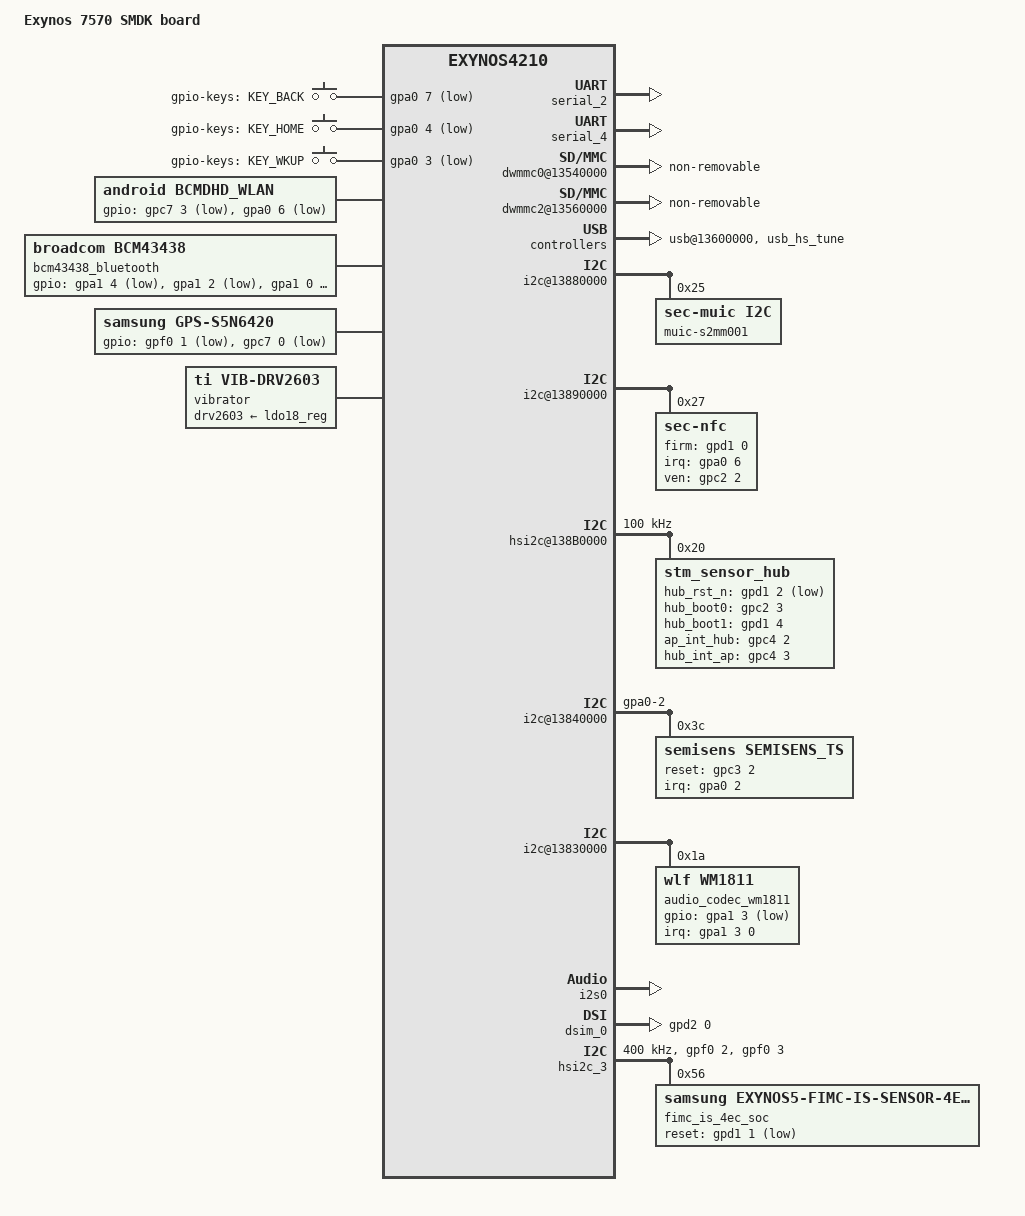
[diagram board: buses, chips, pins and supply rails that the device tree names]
/*
 * SAMSUNG SMDK7270 board device tree source
 *
 * Copyright (c) 2013 Samsung Electronics Co., Ltd.
 *		http://www.samsung.com
 *
 * This program is free software; you can redistribute it and/or modify
 * it under the terms of the GNU General Public License version 2 as
 * published by the Free Software Foundation.
*/

/dts-v1/;
#include "exynos7270.dtsi"
#include "exynos7270-rmem.dtsi"

/ {
	model = "Exynos 7570 SMDK board";
	compatible = "samsung,exynos7570", "samsung,exynos4210";

	memory@40000000 {
		device_type = "memory";
		reg = <0x0 0x40000000 0x30000000>;
	};

	chosen {
		bootargs = "console=ttySAC2,115200 clk_ignore_unused androidboot.hardware=samsungexynos7570 androidboot.selinux=disabled firmware_class.path=/vendor/firmware ess_setup=0x46000000 volt_offset_percent=10";
		linux,initrd-start = <0x42000000>;
		linux,initrd-end = <0x421FFFFF>;
	};

	fixed-rate-clocks {
		oscclk {
			compatible = "samsung,exynos7570-oscclk";
			clock-frequency = <26000000>;
		};
	};

	serial_2: uart@13820000 {
		status = "okay";
	};

        usi_1: usi@101D3000 {
                status = "okay";
        };

        serial_4: uart@13930000 {
                status = "okay";
        };

	dwmmc0@13540000 {
		status = "okay";
		num-slots = <1>;
		broken-cd;
		bypass-smu;
		fixed_voltage;
		supports-highspeed;
		clock-gate;
		mmc-ddr-1_8v;
		supports-8bit;
		supports-cmd23;
		supports-erase;
		ignore-phase = <(1 << 7)>;
		use-fine-tuning;
		only_once_tune;
		bypass-for-allpass;
		card-init-hwacg-ctrl;
		fifo-depth = <0x40>;
		non-removable;
		card-detect-delay = <200>;
		clock-frequency = <700000000>;
		samsung,dw-mshc-ciu-div = <3>;
		samsung,dw-mshc-txdt-crc-timer-fastlimit = <0x34>;
		samsung,dw-mshc-txdt-crc-timer-initval = <0x38>;
		samsung,dw-mshc-ddr200-delay-line = <0x60>;
		samsung,dw-mshc-sdr-timing = <3 0 4 0>;
		samsung,dw-mshc-ddr-timing = <3 0 4 2>;
		samsung,dw-mshc-hs200-timing = <3 0 3 0>;
		samsung,dw-mshc-ddr200-timing = <1 0 4 0>;
		samsung,dw-mshc-ddr200-ulp-timing = <3 0 3 0>;

		num-ref-clks = <10>;
		ciu_clkin = <25 43 43 87 175 43 43 175 175 175>;

		/* Swapping clock drive strength */
		clk-drive-number = <4>;
		pinctrl-names = "default",
			"fast-slew-rate-1x",
			"fast-slew-rate-2x",
			"fast-slew-rate-3x",
			"fast-slew-rate-4x";
		pinctrl-0 = <&sd0_clk &sd0_cmd &sd0_rdqs &sd0_bus1 &sd0_bus4 &sd0_bus8>;
		pinctrl-1 = <&sd0_clk_fast_slew_rate_1x>;
		pinctrl-2 = <&sd0_clk_fast_slew_rate_2x>;
		pinctrl-3 = <&sd0_clk_fast_slew_rate_3x>;
		pinctrl-4 = <&sd0_clk_fast_slew_rate_4x>;
		slot@0 {
			reg = <0>;
			bus-width = <8>;
		};
	};

	dwmmc2@13560000 {
		status = "okay";
		num-slots = <1>;
		clock-gate;
//		fixed_volt;
		supports-highspeed;
		only_once_tune;
		enable-cclk-on-suspend;
		keep-power-in-suspend;
//		enable-sdio-wakeup;
                non-removable;
                broken-cd;
		supports-poweroff-notification;
		cd-type = <2>;
//		cd-gpio = <&gpc0 1 0xf>;
		qos_int_level = <133>;
		fifo-depth = <0x40>;
		card-detect-delay = <200>;
		samsung,dw-mshc-ciu-div = <3>;
		samsung,dw-mshc-sdr-timing = <3 0 2 1>;
		samsung,dw-mshc-ddr-timing = <3 0 3 2>;

		num-ref-clks = <11>;
		ciu_clkin = <25 50 50 50 50 100 200 100 100 200 400>;
//		clk-drive-number = <4>;
		pinctrl-names = "default";
//			"fast-slew-rate-1x",
//			"fast-slew-rate-2x",
//			"fast-slew-rate-3x",
//			"fast-slew-rate-4x";
		pinctrl-0 = <&sd2_clk &sd2_cmd &sd2_bus1 &sd2_bus4>;
//		pinctrl-1 = <&sd2_clk_fast_slew_rate_1x>;
//		pinctrl-2 = <&sd2_clk_fast_slew_rate_2x>;
//		pinctrl-3 = <&sd2_clk_fast_slew_rate_3x>;
//		pinctrl-4 = <&sd2_clk_fast_slew_rate_4x>;

		slot@0 {
			reg = <0>;
			bus-width = <4>;
//			disable-wp;
		};
	};

	ion {
		compatible = "samsung,exynos5430-ion";
	};

	usb@13600000 {
		status = "okay";

		dwc3 {
			dr_mode = "otg";
		};
	};

	usbphy@135c0000 {
		status = "okay";
		hs_tune_info = <&usb_hs_tune>;
		ss_tune_info = <&usb_ss_tune>;
	};

	usb_hs_tune:hs_tune {
		status = "okay";
		/* value = <device host> */
		tx_vref = <0x3 0x3>;
		tx_pre_emp = <0x0 0x0>;
		tx_pre_emp_puls = <0x0 0x0>;
		tx_res	= <0x2 0x2>;
		tx_rise = <0x1 0x1>;
		tx_hsxv = <0x0 0x0>;
		tx_fsls = <0x3 0x3>;
		rx_sqrx = <0x5 0x5>;
		compdis	= <0x3 0x3>;
		otg= <0x2 0x2>;
		/* true : 1, false: 0 */
		/* <enable_user_imp user_imp_value> */
		enable_user_imp = <0 0>;
		/* PHY clk : 1 , FREE clk : 0 */
		is_phyclock = <1>;
	};

	usb_ss_tune:ss_tune {
		status = "disabled";
		/* value = <device host> */
		tx_boost_level = <0x4 0x4>;
		tx_swing_level = <0x1 0x1>;
		tx_swing_full = <0x7F 0x7F>;
		tx_swing_low = <0x7F 0x7F>;
		tx_deemphasis_mode = <0x1 0x1>;
		tx_deemphasis_3p5db = <0x18 0x18>;
		tx_deemphasis_6db = <0x18 0x18>;
		enable_ssc = <0x1 0x1>;
		ssc_range = <0x0 0x1>;
		los_bias = <0x5 0x5>;
		los_mask_val = <0x104 0x104>;
		enable_fixed_rxeq_mode = <0x0 0x0>;
		fix_rxeq_value = <0x4 0x4>;
		set_crport_mpll_charge_pump = <0x0 0x0>;
		set_crport_level_en = <0x0 0x0>;
	};

	usb_notifier {
		compatible = "samsung,usb-notifier";
		udc = <&udc>;
	};

	tmuctrl_0: tmuctrl_CPUCL0@10130000 {
		compatible = "samsung,exynos7570-tmu";
		reg = <0x0 0x10130000 0x200>;
		interrupts = <0 435 0>;
		default_ptat_cont = <0x1>;
	};

	tmuctrl_1: tmuctrl_G3D@10130000 {
		compatible = "samsung,exynos7570-tmu";
		reg = <0x0 0x10130000 0x200>;
		interrupts = <0 435 0>;
		default_ptat_cont = <0x1>;

		/* gpu cooling related table */
		gpu_idx_num = <5>;
		/* flags, driver_data(index), frequency */
		gpu_cooling_table = < 0 0 830000
				      0 1 700000
				      0 2 553000
				      0 3 415000
				      0 4 TABLE_END>;
	};

	pinctrl@139F0000 {
		if_irq: if-irq {
			samsung,pins = "gpa0-5";
			samsung,pin-pud = <3>;
			samsung,pin-drv = <3>;
		};
	};

	i2c@13880000 {
		status = "okay";
		muic-s2mm001@25 {
			compatible = "sec-muic,i2c";
			reg = <0x25>;
			pinctrl-names = "default";
			muic,muic_int = <&gpa1 1 0>;
		};
	};

	i2c@13890000 {
                samsung,i2c-sda-delay = <100>;
                samsung,i2c-max-bus-freq = <400000>;
                status = "okay";

                sec-nfc@27 {
                        compatible = "sec-nfc";
                        pinctrl-names = "default";
                        pinctrl-0 = <&nfc_pd &gpio_nfc_ese_pwr_en &gpio_nfc_pwr_en &nfc_int>;
                        reg = <0x27>;
                        sec-nfc,firm-gpio = <&gpd1 0 0>;
                        sec-nfc,irq-gpio = <&gpa0 6 0>;
                        sec-nfc,ven-gpio = <&gpc2 2 0>;
                };
	};

	speedy@10510000 {
		status = "okay";
		s2mpw01mfd@00 {
			compatible = "samsung,s2mpw01mfd";
			reg = <0x00>;
			pinctrl-names = "default";
			pinctrl-0 = <&if_irq>;
			s2mpw01,irq-gpio = <&gpa0 5 0>;
			s2mpw01,wakeup = "enabled";

			i2c-speedy-address;
			cache_data = <1>;

			/* RTC: wtsr/smpl */
			wtsr_en = "enabled"; /* enable */
			wtsr_timer_val = <3>;   /* 1000ms */
			check_jigon = <0>; /* do not check jigon */
			/* RTC: reset time to 1/1/2014 00:00:00(Wed) */
			init_time,sec = <0>;
			init_time,min = <0>;
			init_time,hour = <0>;
			init_time,mday = <1>;
			init_time,mon = <0>;    /* +1 */
			init_time,year = <116>; /* 1900 + 114 */
			init_time,wday = <5>;

			s2mpw01-keys {
				button@1 {
					label = "pmic-keys: KEY_POWER";
					linux,code = <116>;
					wakeup = <1>;
				};
			};

			regulators {
				buck1_reg: BUCK1 {
					regulator-name = "BUCK1";
					regulator-min-microvolt = <600000>;
					regulator-max-microvolt = <1300000>;
					regulator-always-on;
					regulator-boot-on;
					regulator-ramp-delay = <12000>;
					regulator-initial-mode = <1>;
					regulator-expected-consumer = <6>;
				};

				buck3_reg: BUCK3 {
					regulator-name = "BUCK3";
					regulator-min-microvolt = <800000>;
					regulator-max-microvolt = <1500000>;
					regulator-always-on;
					regulator-boot-on;
					regulator-ramp-delay = <12000>;
					regulator-initial-mode = <3>;
				};

				buck4_reg: BUCK4 {
					regulator-name = "BUCK4";
					regulator-min-microvolt = <1800000>;
					regulator-max-microvolt = <2100000>;
					regulator-always-on;
					regulator-boot-on;
					regulator-initial-mode = <3>;
					regulator-ramp-delay = <12000>;
				};

				ldo1_reg: LDO1 {
					regulator-name = "vdd_ldo1";
					regulator-min-microvolt = <500000>;
					regulator-max-microvolt = <1350000>;
					regulator-ramp-delay = <12000>;
					regulator-initial-mode = <3>;
					regulator-always-on;
					regulator-boot-on;
				};

				ldo2_reg: LDO2 {
					regulator-name = "vdd_ldo2";
					regulator-min-microvolt = <500000>;
					regulator-max-microvolt = <1350000>;
					regulator-always-on;
					regulator-boot-on;
					regulator-ramp-delay = <12000>;
					regulator-initial-mode = <1>;
				};

				ldo3_reg: LDO3 {
					regulator-name = "vdd_ldo3";
					regulator-min-microvolt = <1500000>;
					regulator-max-microvolt = <2000000>;
					regulator-always-on;
					regulator-boot-on;
					regulator-initial-mode = <3>;
					regulator-ramp-delay = <12000>;
				};

				ldo4_reg: LDO4 {
					regulator-name = "vdd_ldo4";
					regulator-min-microvolt = <800000>;
					regulator-max-microvolt = <1200000>;
					regulator-always-on;
					regulator-boot-on;
					regulator-initial-mode = <1>;
					regulator-ramp-delay = <12000>;
				};

				ldo5_reg: LDO5 {
					regulator-name = "vdd_ldo5";
					regulator-min-microvolt = <800000>;
					regulator-max-microvolt = <1200000>;
					regulator-always-on;
					regulator-boot-on;
					regulator-initial-mode = <1>;
					regulator-ramp-delay = <12000>;
				};

				ldo6_reg: LDO6 {
					regulator-name = "vdd_ldo6";
					regulator-min-microvolt = <1800000>;
					regulator-max-microvolt = <3375000>;
					regulator-initial-mode = <1>;
					regulator-ramp-delay = <12000>;
					regulator-always-on;
				};

				ldo7_reg: LDO7 {
					regulator-name = "vdd_ldo7";
					regulator-min-microvolt = <800000>;
					regulator-max-microvolt = <1200000>;
					regulator-always-on;
					regulator-boot-on;
					regulator-initial-mode = <3>;
					regulator-ramp-delay = <12000>;
				};

				ldo8_reg: LDO8 {
					regulator-name = "vdd_ldo8";
					regulator-min-microvolt = <1500000>;
					regulator-max-microvolt = <2000000>;
					regulator-initial-mode = <0>;
					regulator-ramp-delay = <12000>;
				};

				ldo9_reg: LDO9 {
					regulator-name = "vdd_ldo9";
					regulator-min-microvolt = <1800000>;
					regulator-max-microvolt = <3375000>;
					regulator-initial-mode = <0>;
					regulator-ramp-delay = <12000>;
				};

				ldo10_reg: LDO10 {
					regulator-name = "vdd_ldo10";
					regulator-min-microvolt = <1500000>;
					regulator-max-microvolt = <2000000>;
					regulator-always-on;
					regulator-boot-on;
					regulator-ramp-delay = <12000>;
				};

				ldo11_reg: LDO11 {
					regulator-name = "vdd_ldo11";
					regulator-min-microvolt = <1800000>;
					regulator-max-microvolt = <2850000>;
					regulator-always-on;
					regulator-boot-on;
					regulator-ramp-delay = <12000>;
				};

				ldo12_reg: LDO12 {
					regulator-name = "vdd_ldo12";
					regulator-min-microvolt = <1800000>;
					regulator-max-microvolt = <3375000>;
					regulator-always-on;
					regulator-boot-on;
					regulator-ramp-delay = <12000>;
				};

				ldo13_reg: LDO13 {
					regulator-name = "vdd_ldo13";
					regulator-min-microvolt = <1500000>;
					regulator-max-microvolt = <2000000>;
					regulator-always-on;
					regulator-boot-on;
					regulator-ramp-delay = <12000>;
				};

				ldo14_reg: LDO14 {
					regulator-name = "vdd_ldo14";
					regulator-min-microvolt = <1800000>;
					regulator-max-microvolt = <3375000>;
					regulator-ramp-delay = <12000>;
				};

				ldo15_reg: LDO15 {
					regulator-name = "vdd_ldo15";
					regulator-min-microvolt = <1500000>;
					regulator-max-microvolt = <2000000>;
					regulator-always-on;
					regulator-boot-on;
					regulator-initial-mode = <3>;
					regulator-ramp-delay = <12000>;
				};

				ldo16_reg: LDO16 {
					regulator-name = "vdd_ldo16";
					regulator-min-microvolt = <1800000>;
					regulator-max-microvolt = <3375000>;
					regulator-always-on;
					regulator-boot-on;
					regulator-initial-mode = <1>;
					regulator-ramp-delay = <12000>;
				};

				ldo17_reg: LDO17 {
					regulator-name = "vdd_ldo17";
					regulator-min-microvolt = <1500000>;
					regulator-max-microvolt = <2000000>;
					regulator-always-on;
					regulator-boot-on;
					regulator-initial-mode = <1>;
					regulator-ramp-delay = <12000>;
				};

				ldo18_reg: LDO18 {
					regulator-name = "vdd_ldo18";
					regulator-min-microvolt = <1800000>;
					regulator-max-microvolt = <3375000>;
					regulator-ramp-delay = <12000>;
				};

				ldo19_reg: LDO19 {
					regulator-name = "vdd_ldo19";
					regulator-min-microvolt = <1800000>;
					regulator-max-microvolt = <3375000>;
					regulator-always-on;
					regulator-boot-on;
					regulator-ramp-delay = <12000>;
				};

				ldo20_reg: LDO20 {
					regulator-name = "vdd_ldo20";
					regulator-min-microvolt = <1800000>;
					regulator-max-microvolt = <3375000>;
					regulator-always-on;
					regulator-boot-on;
					regulator-ramp-delay = <12000>;
				};

				ldo21_reg: LDO21 {
					regulator-name = "vdd_ldo21";
					regulator-min-microvolt = <1500000>;
					regulator-max-microvolt = <2000000>;
					regulator-ramp-delay = <12000>;
					regulator-always-on;
					regulator-boot-on;
					regulator-initial-mode = <1>;
				};

				ldo22_reg: LDO22 {
					regulator-name = "vdd_ldo22";
					regulator-min-microvolt = <800000>;
					regulator-max-microvolt = <1200000>;
					regulator-always-on;
					regulator-boot-on;
					regulator-initial-mode = <1>;
					regulator-ramp-delay = <12000>;
				};

				ldo23_reg: LDO23 {
					regulator-name = "vdd_ldo23";
					regulator-min-microvolt = <1800000>;
					regulator-max-microvolt = <3375000>;
					regulator-always-on;
					regulator-boot-on;
					regulator-ramp-delay = <12000>;
				};
			};
		};
	};

	exynos_rgt {
		compatible = "samsung,exynos-rgt";
	};

	exynos-pm {
		compatible = "samsung,exynos-pm";
		reg = <0x0 0x139F0000 0x1000>,
		      <0x0 0x104E1200 0x100>;
		reg-names = "gpio_alive_base",
			    "gicd_ispendrn_base";
		num-eint = <24>;
		num-gic = <16>;
		suspend_mode_idx = <8>;		/* SYS_SLEEP */
		suspend_psci_idx = <131>;	/* PSCI_SYSTEM_SLEEP */
		cp_call_mode_idx = <4>;		/* SYS_LPD */
		cp_call_psci_idx = <132>;	/* PSCI_SYSTEM_CP_CALL */
	};

	exynos-powermode {
		compatible = "exynos,powermode";

		/*	        sicd		sicd_cpd	aftr		stop
		 * 		lpd		lpa		alpa		dstop
		 *		sleep
		 */
		wakeup_mask =  <0x400791E1>,	<0x0>,		<0x0>,		<0x0>,
			       <0x0>,		<0x0>,		<0x0>,		<0x0>,
			       <0x4007FFFC>;
		wakeup_mask2 = <0x0>,		<0x0>,		<0x0>,		<0x0>,
			       <0x0>,		<0x0>,		<0x0>,		<0x0>,
			       <0xFFFF00FF>;
		wakeup_mask3 = <0x0>,		<0x0>,		<0x0>,		<0x0>,
			       <0x0>,		<0x0>,		<0x0>,		<0x0>,
			       <0xFFFF00FF>;

		cpd_residency = <3000>;
		sicd_residency = <3000>;

		sicd_enabled = <1>;

		idle-ip = "136c0000.pwm",		/* idle ip index : 0 */
			  "10550000.adc",		/* idle ip index : 1 */

			  "10510000.hsi2c",		/* idle ip index : 2 */
			  "13950000.hsi2c",		/* idle ip index : 3 */
			  "13960000.hsi2c",		/* idle ip index : 4 */
			  "138a0000.hsi2c",		/* idle ip index : 5 */
			  "138b0000.hsi2c",		/* idle ip index : 6 */
			  "138c0000.hsi2c",		/* idle ip index : 7 */
			  "138f0000.hsi2c",		/* idle ip index : 8 */

			  "13870000.i2c",		/* idle ip index : 9 */
			  "13880000.i2c",		/* idle ip index : 10 */
			  "13890000.i2c",		/* idle ip index : 11 */
			  "13840000.i2c",		/* idle ip index : 12 */
			  "13830000.i2c",		/* idle ip index : 13 */
			  "138d0000.i2c",		/* idle ip index : 14 */
			  "138e0000.i2c",		/* idle ip index : 15 */
			  "13850000.i2c",		/* idle ip index : 16 */
			  "13860000.i2c",		/* idle ip index : 17 */

			  "13540000.dwmmc0",		/* idle ip index : 18 */
			  "13560000.dwmmc2",		/* idle ip index : 19 */

			  "13600000.usb",		/* idle ip index : 20 */

			  "100c0000.spi",		/* idle ip index : 21 */
			  "13900000.spi",		/* idle ip index : 22 */
			  "13910000.spi",		/* idle ip index : 23 */
			  "13920000.spi",		/* idle ip index : 24 */
			  "13930000.spi",		/* idle ip index : 25 */

			  "10500000.mailbox-cp",	/* idle ip index : 26 */
			  "10570000.mailbox-gnss",	/* idle ip index : 27 */

			  "14830000.decon_fb",		/* idle ip index : 28 */
			  "pd-g3d",			/* idle ip index : 29 */
			  "pd-isp",			/* idle ip index : 30 */
			  "pd-mfcmscl",			/* idle ip index : 31 */
			  "148f0000.lpass";             /* idle ip index : 32 */
		idle_ip_mask {
			sicd: SYS_SICD {
				mode-index = <0>;
				ref-idle-ip = <0>,  <1>,  <2>,  <3>,  <4>,  <5>,  <6>,  <7>,  <8>,  <9>,
					     <10>, <11>, <12>, <13>, <14>, <15>, <16>, <17>, <18>, <19>,
					     <20>, <21>, <22>, <23>, <24>, <25>, <26>, <27>, <28>, <29>,
					     <30>, <31>, <32>;
			};
		};
	};

	battery {
		battery,charger_name = "sec-charger";
		battery,fuelgauge_name = "sec-fuelgauge";
		battery,chg_eoc_dualpath = <1>;

		battery,input_current_limit = <100 0 0 200 200 200 200 200 200 0 200 200 200 0 0 200 200 200 200 200 200 0 200 200 20 200>;
		battery,fast_charging_current = <100 0 0 200 200 200 200 200 200 0 200 200 200 0 0 200 200 200 200 200 200 0 200 200 20 200>;
		battery,full_check_current_1st = <100 0 0 80 80 80 80 80 80 0 30 30 30 0 0 30 30 30 30 30 30 0 30 30 20 30>;
		battery,full_check_current_2nd = <100 0 0 20 20 20 20 20 20 0 20 20 20 0 0 20 20 20 20 20 20 0 20 20 20 20>;
		battery,recharge_condition_vcell = <4250>;
	};
	/* ST HUB */
	pinctrl@139F0000 {
		stm_hub_int_ap: stm-hub-int-ap {
			samsung,pins = "gpa0-3";
			samsung,pin-function = <0xf>;
			samsung,pin-pud = <0>;
			samsung,pin-drv = <0>;
		};
		stm_ap_int_hub: stm-ap-int-hub {
			samsung,pins = "gpa0-4";
			samsung,pin-function = <1>;
			samsung,pin-val = <0>;
			samsung,pin-pud = <0>;
		};
	};
	pinctrl@139C0000 {
		stm_boot0: stm-boot0 {
			samsung,pins = "gpc2-3";
			samsung,pin-function = <1>;
			samsung,pin-val = <0>;
			samsung,pin-pud = <0>;
		};
	};

	pinctrl@139B0000 {
		stm_boot1: stm-boot1 {
			samsung,pins = "gpd1-4";
			samsung,pin-function = <1>;
			samsung,pin-val = <0>;
			samsung,pin-pud = <0>;
		};
		stm_rst_n: stm-rst-n {
			samsung,pins = "gpd1-2";
			samsung,pin-function = <1>;
			samsung,pin-val = <1>;
			samsung,pin-pud = <0>;
		};

	};
	hsi2c@138B0000 {
		status = "okay";
		clock-frequency = <100000>;
		samsung,scl-clk-stretching;
		stm_sensor_hub@20 {
			compatible = "stm_sensor_hub";
			reg = <0x20>;
			pinctrl-names = "default";
			pinctrl-0 = <&stm_ap_int_hub &stm_hub_int_ap &stm_rst_n &stm_boot0 &stm_boot1>;
			poll_interval = <10>;
			min_interval = <10>;
			hub_rst_n_gpio = <&gpd1 2 1>;
			hub_boot0_gpio = <&gpc2 3 0>;
			hub_boot1_gpio = <&gpd1 4 0>;
			ap_int_hub_gpio = <&gpc4 2 0>;
			hub_int_ap_gpio = <&gpc4 3 0>;
		};

	};

	s2mpw01-charger {
		battery,chg_float_voltage = <4210>;
	};

	s2mpw01-fuelgauge {
		fuelgauge,fuel_alert_soc = <1>;
		fuelgauge,capacity_max = <1000>;
		fuelgauge,capacity_max_margin = <70>;
		fuelgauge,capacity_min = <0>;
		fuelgauge,capacity_calculation_type = <28>;
		fuelgauge,type_str = "SDI";
		fuelgauge,model_type = <1>;
	};

	acpm: acpm@11C88000 {
		compatible = "samsung,exynos-acpm";
		#address-cells = <2>;
		#size-cells = <1>;
		reg = <0x0 0x11C88000 0x1000>;

		log_base = <0x02047700>;
		time_len = <32>;
		log_buff_size = <16>;
		log_buff_len = <500>;
		debug_logging_level = <0>;
		logging_period = <500>;

		dump_base = <0x02046000>;
		dump_size = <0x4000>;

		plugins {
			framework {
				attach = <2>;
				id = <0>;
				acpm-ipc-channel = <&framework_ch>;
			};
		};
	};

	acpm_ipc: acpm_ipc@11C00000 {
		compatible = "samsung,exynos-acpm-ipc";
		#address-cells = <2>;
		#size-cells = <1>;

		interrupts = <0 22 0>;
		reg = <0x0 0x11C00000 0x1000>;

		channels {
			polling = <1>;
			max_buff_size = <0x300>;
			framework_ch: framework@0x02047400 {
				channel_id = <0>;
				rx_buff = <0x02047400>;
				tx_buff = <0x02047480>;
				buff_size = <12>;
				buff_len = <8>;
				direction_buff = <412>;
			};
		};
	};

	pinctrl@139F0000 {
		ts_irq: ts-irq {
			samsung,pins = "gpa0-2";
			samsung,pin-function = <0xf>;
			samsung,pin-pud = <0>;
			samsung,pin-drv = <0>;
		};
		ts_reset: ts-reset {
			samsung,pins = "gpc3-2";
			samsung,pin-function = <0x1>;
			samsung,pin-pud = <1>;
			samsung,pin-drv = <0>;
		};
	};

	i2c@13840000 {
		samsung,i2c-sda-delay = <100>;
		samsung,i2c-slave-addr = <0x10>;
		samsung,i2c-max-bus-freq = <400000>;
		pinctrl-names = "default";	
		pinctrl-0 = <&i2c3_bus &ts_irq>;
		status = "okay";
		#address-cells = <1>;
		#size-cells = <0>;

		semisens@3c {
			compatible = "semisens,semisens_ts";
			reg = <0x3c>;
			semisens,reset_gpio = <&gpc3 2 0>;
			semisens,irq_gpio = <&gpa0 2 0>;
			semisens,x_resolution = <400>;
			semisens,y_resolution = <400>;
		};
	};

	pinctrl@139F0000 {
		codec_irq: codec-irq {
			samsung,pins = "gpa1-3";
			samsung,pin-function = <0xf>;
			samsung,pin-pud = <0>;//?
		};
	};
/*audio start*/
	i2c@13830000 {
		samsung,i2c-sda-delay = <100>;
		samsung,i2c-max-bus-freq = <400000>;
		pinctrl-names = "default";
		pinctrl-0 = <&i2c4_bus>;
		status = "okay";
		#address-cells = <1>;
		#size-cells = <0>;

		audio_codec_wm1811: wm1811@1a {
			compatible = "wlf,wm1811";
			reg = <0x1a>;
			interrupt-parent = <&gpa1>;
			interrupts = <3 0 0>;

			gpio-controller;
			#gpio-cells = <2>;
			gpios = <&gpa1 3 0xf>;

			pinctrl-names = "default";
			pinctrl-0 = <&codec_irq>;

			wlf,gpio-cfg = <0x8101 0x0 0x0 0x0 0x0 0x0
					0x0 0x0005 0x0 0x0 0x0>;
			wlf,micbias-cfg = <0x2f 0x2b>;
		};
	};
/*audio end*/

	pinctrl@139F0000 {
		key_volup: key-volup {
			samsung,pins = "gpa0-7";
			samsung,pin-function = <0xf>;
			samsung,pin-pud = <0>;
			samsung,pin-drv = <0>;
		};

		key_home: key-home {
			samsung,pins = "gpa0-4";
			samsung,pin-function = <0xf>;
			samsung,pin-pud = <0>;
			samsung,pin-drv = <0>;
		};
                key_wkup: key-wkup {
                        samsung,pins = "gpa0-3";
                        samsung,pin-function = <0xf>;
                        samsung,pin-pud = <0>;
                        samsung,pin-drv = <0>;
                };
	};

	gpio_keys {
		compatible = "gpio-keys";
		pinctrl-names = "default";
		pinctrl-0 = <&key_volup &key_home &key_wkup>;
		#address-cells = <1>;
		#size-cells = <0>;

		button@1 {
			label = "gpio-keys: KEY_BACK";
			interrupts = <7 0 0>;
			interrupt-parent = <&gpa0>;
			linux,code = <158>;
			gpios = <&gpa0 7 0xf>;
		};
		button@2 {
			label = "gpio-keys: KEY_HOME";
			interrupts = <4 0 0>;
			interrupt-parent = <&gpa0>;
			linux,code = <172>;
			gpios = <&gpa0 4 0xf>;
			gpio-key,wakeup = <1>;
		};
                button@3 {
                        label = "gpio-keys: KEY_WKUP";
                        interrupts = <3 0 0>;
                        interrupt-parent = <&gpa0>;
                        linux,code = <199>;
                        gpios = <&gpa0 3 0xf>;
                        gpio-key,wakeup = <1>;
                };

	};

/*audio start*/
        s1403x: s1403x@14880000 {
		pinctrl-names = "default", "idle";
		pinctrl-0 = <&i2s_pmic_bus
				&i2s_amp_bus
				&i2s_codec_clk>;
		pinctrl-1 = <&i2s_pmic_bus_idle
				&i2s_amp_bus_idle> ;
		//bck-mcko-mode;//?
		status = "okay";
	};

	i2s0: i2s@148A0000 {
		status = "okay";
	};

	//audio_cp_dummy: cp_dummy {
	//		compatible = "samsung,cp_dummy";
	//		status = "okay";
	//};

	//audio_fm_dummy: fm_dummy {
	//		compatible = "samsung,fm_dummy";
	//		status = "okay";
	//};

	audio_bt_dummy: bt_dummy {
			compatible = "samsung,bt_dummy";
			status = "okay";
	};

	audio_codec_dummy: dummy-codec {
			compatible = "samsung,dummy-codec";
			status = "okay";
	};
	sound {
		compatible = "samsung,smdk7270-wm8994";
		samsung,audio-cpu = <&i2s0	/* primary */
			&i2s0			 /* secondary */
			//&audio_cp_dummy
			&audio_bt_dummy
			//&audio_fm_dummy
			//&i2s1			/*AMP for AP */
			//&audio_cp_dummy /*AMP for CP */
			&eax
			&eax
			&eax
			&eax>;
		samsung,audio-codec = <&audio_codec_wm1811
			&audio_codec_wm1811
			//&audio_codec_wm1811
			&audio_codec_dummy
			//&audio_codec_wm1811
			//&audio_codec_dummy
			//&audio_codec_dummy
			&audio_codec_wm1811
			&audio_codec_wm1811
			&audio_codec_wm1811
			&audio_codec_wm1811>;

		samsung,auxdev = <&s1403x>;
		status = "okay";
	};

/*audio end*/

	decon_fb@14830000 {
		/* HW TE */
		gpios = <&gpe0 2 0xf>;
		/* 0: video mode, 1: DP command mode, 2: MIPI command mode */
		psr_mode = <2>;
		/* vclk_mif = 100MHz */
		mif-vclk = <100000000>;
		/* vclk = 12.5Mhz */
		disp-vclk = <12500000>;
		/* aclk = 208Mhz */
		disp-dvfs = <208000000>;
		status = "okay";
	};

	dsim_0: dsim@14800000 {
		lcd_info = <&rm69080>;
		/*lcd reset */
		gpios = <&gpd2 0 0x1>;

		/* number of data lanes in use */
		data_lane_cnt = <1>;

		status = "okay";
	};

	rm69080: rm69080_custom {
		/* 0: video mode, 1: DP command mode, 2: MIPI command mode */
		mode = <2>;
		/* custom (360 x 360) */
		panel_name = "rm69080";
		resolution = <400 400>;
		/* DISP I/F resolution width : 300, height : 432 */
		dispif_resol = <320 500>;
		size = <35 35>;
		timing,refresh = <60>;
		/* dsim H porch : hbp, hfp, hsa */
		timing,dsim_h-porch = <1 1 1>;
		/* dsim V porch : VBP, VFP, VSA */
		timing,dsim_v-porch = <10 2 1>;
		/* decon H porch : hbp, hfp, hsa */
		timing,decon_h-porch = <7 1 1>;
		/* decon V porch : VBP, VFP, VSA */
		timing,decon_v-porch = <10 2 1>;
		/* panel max speed : 384Mbps */
		timing,dsi-hs-clk = <384>;
		timing,pms = <2 118 2>;
		timing,dsi-escape-clk = <16>;
	};

	
	/* add for Broadcom bcm43438 */
	bcmdhd_wlan {
                compatible = "android,bcmdhd_wlan";

                gpios = <&gpc7 3 1 /* WIFI_REG_ON */
                         &gpa0 6 0xf /* WLAN_HOST_WAKE */>;

                pinctrl-names = "default";
                pinctrl-0=<&cfg_wlanen &cfg_wlanhostwake>;
                status="okay";
        };   

	bcm43438_bluetooth {
                 compatible = "broadcom,bcm43438";

                 gpios = <&gpa1 4 1 /*BT_EN*/
                          &gpa1 2 1 /*BT_WAKE*/
                          &gpa1 0 0xf /*BT_HOST_WAKE*/>;

                 pinctrl-names = "default";
                 pinctrl-0=<&bcm43438_hostwake &bcm43438_btwake &bcm43438_en>;
                 status = "okay";
        };

        gps: gps {
                compatible = "samsung,gps-s5n6420";
                pinctrl-names = "default";
                pinctrl-0 = <&gps_enable &gps_reset_n>;
                gpios = <&gpf0 1 0x1
                         &gpc7 0 0x1>;
        };

        vibrator {
                status = "okay";
                compatible = "ti,vib-drv2603";
                label = "vibrator";
                drv2603-supply = <&ldo18_reg>;
                ti,vib-timeout-ms = <15000>;
        };

	/* camera */
	#define SENSOR_SCENARIO_NORMAL      0
	#define SENSOR_SCENARIO_VISION      1
	#define SENSOR_SCENARIO_EXTERNAL    2
	#define SENSOR_SCENARIO_OIS_FACTORY 3
	#define SENSOR_SCENARIO_VIRTUAL     9
	#define FLITE_ID_NOTHING 100

#if 1 // it is for external isp
	fimc_is@14400000 {
		front_sensor_id = <57>; /* 4EC */
		use_module_check;
		skip_cal_loading;

		/* TODO : dvfs */
		fimc_is_dvfs {
			#define DVFS_INT_L0 467000
			#define DVFS_INT_L1 415000

			#define DVFS_CAM_L0 554000
			#define DVFS_CAM_L1 444000

			#define DVFS_MIF_L0 830000
			#define DVFS_MIF_L1 700000
			#define DVFS_MIF_L2 666000
			#define DVFS_MIF_L3 415000

			table0 {
				desc = "HAL1 version";

				default_int = <DVFS_INT_L0>;
				default_cam = <DVFS_CAM_L0>;
				default_mif = <DVFS_MIF_L0>;
				default_i2c = <0>;

				max_int = <DVFS_INT_L0>;
				max_cam = <DVFS_CAM_L0>;
				max_mif = <DVFS_MIF_L0>;
				max_i2c = <0>;
			};

			table1 {
				desc = "HAL3 version";

				default_int = <DVFS_INT_L0>;
				default_cam = <DVFS_CAM_L0>;
				default_mif = <DVFS_MIF_L0>;
				default_i2c = <0>;

				max_int = <DVFS_INT_L0>;
				max_cam = <DVFS_CAM_L0>;
				max_mif = <DVFS_MIF_L0>;
				max_i2c = <0>;
			};
		};
	};

	hsi2c_3: hsi2c@138C0000 {
		gpios = <&gpf0 2 0 &gpf0 3 0>;
		status = "okay";
		clock-frequency = <400000>;

		pinctrl-names = "default";
		pinctrl-0 = <&hs_i2c3_bus>;

		fimc_is_4ec_soc@57 {
			compatible = "samsung,exynos5-fimc-is-sensor-4ec-soc";
			reg = <0x56>;
			setfile = "default";
  			pinctrl-names = "pin0", "pin1", "pin2";
  			pinctrl-0 = <>;
  			pinctrl-1 = <&fimc_is_mclk0_in>;
  			pinctrl-2 = <&fimc_is_mclk0_fn>;

  			id = <1>; /* sensor node id */
  			mclk_ch = <0>;
  			sensor_i2c_ch = <1>;
  			sensor_i2c_addr = <0x56>;
  			position = <1>; /* Rear:0. Front:1 */
  
  			gpio_reset = <&gpd1 1 0x1>; /*camera reset */
  			status = "okay";
		};
	};	

	fimc_is_sensor1: fimc_is_sensor1@14420000 {
		scenario = <SENSOR_SCENARIO_EXTERNAL>;    /* Normal, Vision, OIS etc */
		id = <1>;
		csi_ch = <0>;
		flite_ch = <0>;
		is_bns = <0>;
		status = "okay";
	};
	
#else // it is for internal isp	
	fimc_is@14400000 {
		front_sensor_id = <30>; /* 5E8 */
		use_module_check;
		skip_cal_loading;

		/* TODO : dvfs */
		fimc_is_dvfs {
			#define DVFS_INT_L0 467000
			#define DVFS_INT_L1 415000

			#define DVFS_CAM_L0 554000
			#define DVFS_CAM_L1 444000

			#define DVFS_MIF_L0 830000
			#define DVFS_MIF_L1 700000
			#define DVFS_MIF_L2 666000
			#define DVFS_MIF_L3 415000

			table0 {
				desc = "HAL1 version";

				default_int = <DVFS_INT_L0>;
				default_cam = <DVFS_CAM_L0>;
				default_mif = <DVFS_MIF_L0>;
				default_i2c = <0>;

				front_preview_int = <DVFS_INT_L0>;
				front_preview_cam = <DVFS_CAM_L0>;
				front_preview_mif = <DVFS_MIF_L0>;
				front_preview_i2c = <0>;

				front_capture_int = <DVFS_INT_L0>;
				front_capture_cam = <DVFS_CAM_L0>;
				front_capture_mif = <DVFS_MIF_L0>;
				front_capture_i2c = <0>;

				front_video_int = <DVFS_INT_L0>;
				front_video_cam = <DVFS_CAM_L0>;
				front_video_mif = <DVFS_MIF_L0>;
				front_video_i2c = <0>;

				front_video_capture_int = <DVFS_INT_L0>;
				front_video_capture_cam = <DVFS_CAM_L0>;
				front_video_capture_mif = <DVFS_MIF_L0>;
				front_video_capture_i2c = <0>;

				max_int = <DVFS_INT_L0>;
				max_cam = <DVFS_CAM_L0>;
				max_mif = <DVFS_MIF_L0>;
				max_i2c = <0>;
			};

			table1 {
				desc = "HAL3 version";

				default_int = <DVFS_INT_L0>;
				default_cam = <DVFS_CAM_L0>;
				default_mif = <DVFS_MIF_L0>;
				default_i2c = <0>;

				front_preview_int = <DVFS_INT_L0>;
				front_preview_cam = <DVFS_CAM_L0>;
				front_preview_mif = <DVFS_MIF_L0>;
				front_preview_i2c = <0>;

				front_capture_int = <DVFS_INT_L0>;
				front_capture_cam = <DVFS_CAM_L0>;
				front_capture_mif = <DVFS_MIF_L0>;
				front_capture_i2c = <0>;

				front_video_int = <DVFS_INT_L0>;
				front_video_cam = <DVFS_CAM_L0>;
				front_video_mif = <DVFS_MIF_L0>;
				front_video_i2c = <0>;

				front_video_capture_int = <DVFS_INT_L0>;
				front_video_capture_cam = <DVFS_CAM_L0>;
				front_video_capture_mif = <DVFS_MIF_L0>;
				front_video_capture_i2c = <0>;

				max_int = <DVFS_INT_L0>;
				max_cam = <DVFS_CAM_L0>;
				max_mif = <DVFS_MIF_L0>;
				max_i2c = <0>;
			};
		};
	};

	fimc_is_module_5e8: fimc-is_sensor_5e8@22 {
		compatible = "samsung,sensor-module-5e8";

		pinctrl-names = "pin0", "pin1", "pin2";
		pinctrl-0 = <>;
		pinctrl-1 = <&fimc_is_mclk0_in>;
		pinctrl-2 = <&fimc_is_mclk0_fn>;

		position = <1>; /* Rear:0. Front:1 */
		id = <1>; /* sensor node id */
		mclk_ch = <0>;
		sensor_i2c_ch = <1>;
		sensor_i2c_addr = <0x10>;

		gpio_reset = <&gpd1 1 0x1>; /*camera reset */
		status = "okay";
	};

	hsi2c_3: hsi2c@138C0000 {
		gpios = <&gpf0 2 0 &gpf0 3 0>;
		status = "okay";
		clock-frequency = <400000>;

		pinctrl-names = "default";
		pinctrl-0 = <&hs_i2c3_bus>;

		fimc-is-5e8@10 {
		        compatible = "samsung,exynos5-fimc-is-cis-5e8";
		        reg = <0x10>;
		        id = <1>; /* matching sensor id */
		        setfile = "default";
		};
	};

	fimc_is_sensor1: fimc_is_sensor1@14420000 {
		scenario = <SENSOR_SCENARIO_NORMAL>;    /* Normal, Vision, OIS etc */
		id = <1>;
		csi_ch = <0>;
		flite_ch = <0>;
		is_bns = <1>;
		status = "okay";
	};
#endif

	fimc_is_sensor0: fimc_is_sensor0@14420000 {
		scenario = <SENSOR_SCENARIO_NORMAL>;    /* Normal, Vision, OIS etc */
		id = <0>;
		csi_ch = <0>;
		flite_ch = <0>;
		is_bns = <0>;
		status = "okay";
	};
	
};
